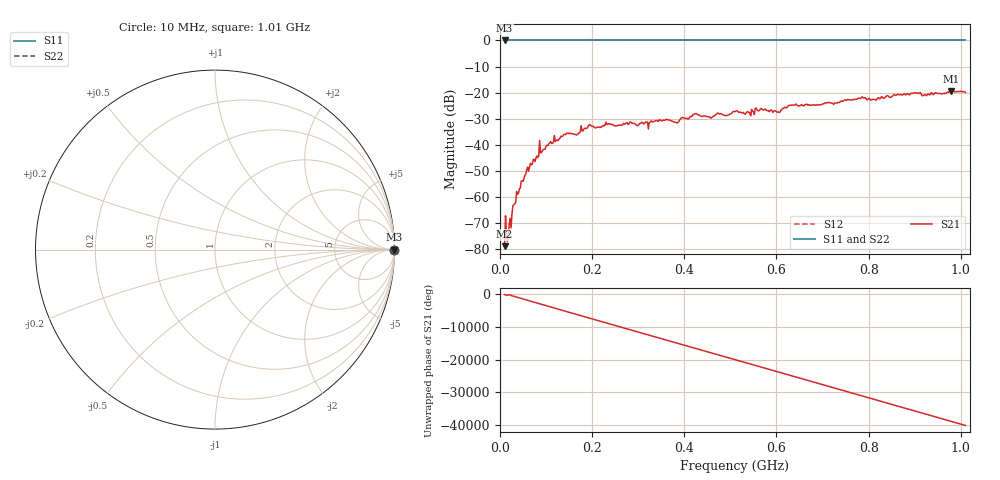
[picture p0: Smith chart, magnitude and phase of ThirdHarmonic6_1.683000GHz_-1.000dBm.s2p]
! 8/16/2025 8:12:16 PM
! C:\ANRITSUVNA\TEMP\TEMP.S2P
! CHANNEL.1
! TR.MEASUREMENT
! RAW.DATA
! RF.CORRECTION.OFF
! AVERAGING.OFF
! IF.BANDWIDTH: 5KHZ
! SWEEPTYPE:  FREQ.SWEEP(Linear)
! Reference Plane Port Info
! PORT:  PORT1  PORT2
! DISTANCE:  0  m  0  m
! TIME:  0  s  0  s
! PHASE.OFFSET:  0  deg.  0  deg.
! LOSS:  0  dB  0  dB
! REF.LOSS:  0  dB  0  dB
! REF.FREQ:  0  Hz  0  Hz
! Power Info
! POWER:  -20  dBm  -20  dBm
! EFF.POWER:  -20  dBm  -20  dBm
! SOURCE.ATTEN:  0  dB  0  dB
! TEST.ATTEN:  0  dB  0  dB
# GHZ S RI R 50.0
! FREQ.GHZ  S11RE  S11IM  S21RE  S21IM  S12RE  S12IM  S22RE  S22IM
!; PortSelection: Port_12
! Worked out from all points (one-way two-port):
!   501 points, 10 MHz to 1.01 GHz, reference 50 ohm
!   highest |S21| = -19.35 dB at 978 MHz (marker M1); lowest = -78.9 dB at 10 MHz (marker M2)
!   lowest |S11| = 0.0 dB at 10 MHz (marker M3)
!   |S11| at or under -10 dB: nowhere
!   |S22| runs from 0.0 to 0.0 dB; largest |S21 - S12| = 1.1
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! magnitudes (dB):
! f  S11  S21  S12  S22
! 10 MHz  0.0  -78.9  0.0  0.0
! 20 MHz  0.0  -70.7  0.0  0.0
! 32 MHz  0.0  -62.6  0.0  0.0
! 46 MHz  0.0  -53.9  0.0  0.0
! 62 MHz  0.0  -50.2  0.0  0.0
! 80 MHz  0.0  -44.3  0.0  0.0
! 82 MHz  0.0  -44.9  0.0  0.0
! 142 MHz  0.0  -36.1  0.0  0.0
! 166 MHz  0.0  -36.3  0.0  0.0
! 178 MHz  0.0  -34.6  0.0  0.0
! 196 MHz  0.0  -32.5  0.0  0.0
! 344 MHz  0.0  -31.0  0.0  0.0
! 384 MHz  0.0  -31.7  0.0  0.0
! 422 MHz  0.0  -28.3  0.0  0.0
! 458 MHz  0.0  -29.8  0.0  0.0
! 510 MHz  0.0  -27.3  0.0  0.0
! 604 MHz  0.0  -27.3  0.0  0.0
! 630 MHz  0.0  -24.8  0.0  0.0
! 678 MHz  0.0  -24.7  0.0  0.0
! 844 MHz  0.0  -21.6  0.0  0.0
! 978 MHz  0.0  -19.4  0.0  0.0
! 1.01 GHz  0.0  -19.9  0.0  0.0
